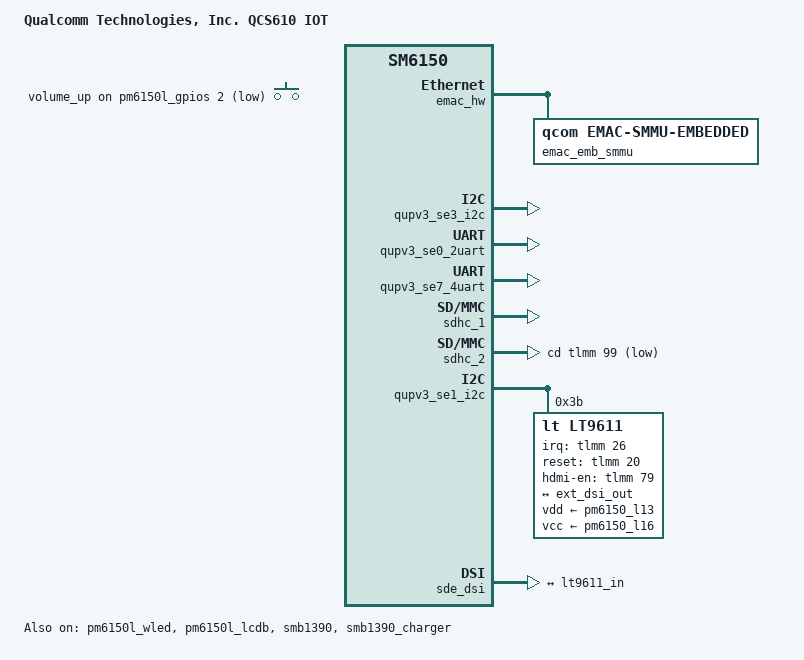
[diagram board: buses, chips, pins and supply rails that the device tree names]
/* Copyright (c) 2019-2020, The Linux Foundation. All rights reserved.
 * Copyright (C) 2021 XiaoMi, Inc.
 *
 * This program is free software; you can redistribute it and/or modify
 * it under the terms of the GNU General Public License version 2 and
 * only version 2 as published by the Free Software Foundation.
 *
 * This program is distributed in the hope that it will be useful,
 * but WITHOUT ANY WARRANTY; without even the implied warranty of
 * MERCHANTABILITY or FITNESS FOR A PARTICULAR PURPOSE.  See the
 * GNU General Public License for more details.
 */

#include <dt-bindings/gpio/gpio.h>
#include <dt-bindings/iio/qcom,spmi-vadc.h>
#include <dt-bindings/input/input.h>

#include <dt-bindings/clock/qcom,rpmh.h>
#include <dt-bindings/clock/qcom,gcc-sm6150.h>
#include <dt-bindings/clock/qcom,camcc-sm6150.h>
#include <dt-bindings/clock/qcom,cpucc-sm8150.h>
#include <dt-bindings/clock/qcom,dispcc-sm6150.h>
#include <dt-bindings/clock/qcom,gpucc-sm6150.h>

#include "sm6150-sde.dtsi"
#include "sm6150-sde-pll.dtsi"
#include "sm6150-sde-display.dtsi"
#include "qcs610-camera-sensor-idp.dtsi"
#include "sm6150-audio-overlay.dtsi"

/ {
	model = "Qualcomm Technologies, Inc. QCS610 IOT";
	compatible = "qcom,qcs610-iot", "qcom,qcs610", "qcom,iot";
	qcom,board-id = <32 0>;
};

&soc {
	qcom,rmnet-ipa {
		status="disabled";
	};
};

&ipa_hw {
	status="disabled";
};

&sm6150_snd {
	/delete-property/ fsa4480-i2c-handle;
};

&qupv3_se3_i2c {
	status = "ok";
	#include "smb1390.dtsi"
};

&fsa4480 {
	status = "disabled";
};

&pm6150l_gpios {
	key_vol_up {
		key_vol_up_default: key_vol_up_default {
			pins = "gpio2";
			function = "normal";
			input-enable;
			bias-pull-up;
			power-source = <0>;
		};
	};

	irled {
		irled_pwm: irled_pwm_default {
			pins = "gpio6";
			function = "func1";
			qcom,drive-strength = <2>;
			power-source = <0>;
			bias-disable;
			output-low;
		};
	};
};

&soc {
	gpio_keys {
		compatible = "gpio-keys";
		label = "gpio-keys";

		pinctrl-names = "default";
		pinctrl-0 = <&key_vol_up_default>;

		vol_up {
			label = "volume_up";
			gpios = <&pm6150l_gpios 2 GPIO_ACTIVE_LOW>;
			linux,input-type = <1>;
			linux,code = <KEY_VOLUMEUP>;
			linux,can-disable;
			debounce-interval = <15>;
			gpio-key,wakeup;
		};
	};

	mtp_batterydata: qcom,battery-data {
		qcom,batt-id-range-pct = <15>;
		#include "qg-batterydata-alium-3600mah.dtsi"
		#include "qg-batterydata-mlp356477-2800mah.dtsi"
	};

	emac_hw: qcom,emac@20000 {
		compatible = "qcom,emac-dwc-eqos";
		qcom,arm-smmu;
		reg = <0x20000 0x10000>,
			<0x36000 0x100>;
		reg-names = "emac-base", "rgmii-base";
		dma-bit-mask = <32>;
		emac-core-version = <7>;
		interrupts-extended = <&pdc 0 660 4>, <&pdc 0 661 4>,
			<&tlmm 76 2>, <&pdc 0 651 4>,
			<&pdc 0 652 4>, <&pdc 0 653 4>,
			<&pdc 0 654 4>, <&pdc 0 655 4>,
			<&pdc 0 656 4>, <&pdc 0 657 4>,
			<&pdc 0 658 4>, <&pdc 0 659 4>,
			<&pdc 0 668 4>, <&pdc 0 669 4>;
		interrupt-names = "sbd-intr", "lpi-intr",
			"phy-intr", "tx-ch0-intr",
			"tx-ch1-intr", "tx-ch2-intr",
			"tx-ch3-intr", "tx-ch4-intr",
			"rx-ch0-intr", "rx-ch1-intr",
			"rx-ch2-intr", "rx-ch3-intr",
			"ptp_pps_irq_0","ptp_pps_irq_1";
		qcom,msm-bus,name = "emac";
		qcom,msm-bus,num-cases = <4>;
		qcom,msm-bus,num-paths = <2>;
		qcom,msm-bus,vectors-KBps =
			<98 512 0 0>, <1 781 0 0>,  /* No vote */
			<98 512 1250 0>, <1 781 0 40000>,  /* 10Mbps vote */
			<98 512 12500 0>, <1 781 0 40000>,  /* 100Mbps vote */
			<98 512 125000 0>, <1 781 0 40000>; /* 1000Mbps vote */
		qcom,bus-vector-names = "0", "10", "100", "1000";
		clocks = <&clock_gcc GCC_EMAC_AXI_CLK>,
				<&clock_gcc GCC_EMAC_PTP_CLK>,
				<&clock_gcc GCC_EMAC_RGMII_CLK>,
				<&clock_gcc GCC_EMAC_SLV_AHB_CLK>;
		clock-names = "eth_axi_clk", "eth_ptp_clk",
				"eth_rgmii_clk", "eth_slave_ahb_clk";
		qcom,phy-reset = <&tlmm 36 GPIO_ACTIVE_HIGH>;
		qcom,phy-reset-delay-msecs = <10 50>;
		qcom,phy-intr-redirect = <&tlmm 76 GPIO_ACTIVE_LOW>;
		gdsc_emac-supply = <&emac_gdsc>;
		pinctrl-names = "dev-emac-mdc", "dev-emac-mdio",
		"dev-emac-rgmii_txd0_state", "dev-emac-rgmii_txd1_state",
		"dev-emac-rgmii_txd2_state", "dev-emac-rgmii_txd3_state",
		"dev-emac-rgmii_txc_state",  "dev-emac-rgmii_tx_ctl_state",
		"dev-emac-rgmii_rxd0_state", "dev-emac-rgmii_rxd1_state",
		"dev-emac-rgmii_rxd2_state", "dev-emac-rgmii_rxd3_state",
		"dev-emac-rgmii_rxc_state", "dev-emac-rgmii_rx_ctl_state",
		"dev-emac-phy_intr", "dev-emac-phy_reset_state",
		"dev-emac_pin_pps_0";

		pinctrl-0 = <&emac_mdc>;
		pinctrl-1 = <&emac_mdio>;
		pinctrl-2 = <&emac_rgmii_txd0>;
		pinctrl-3 = <&emac_rgmii_txd1>;
		pinctrl-4 = <&emac_rgmii_txd2>;
		pinctrl-5 = <&emac_rgmii_txd3>;
		pinctrl-6 = <&emac_rgmii_txc>;
		pinctrl-7 = <&emac_rgmii_tx_ctl>;
		pinctrl-8 = <&emac_rgmii_rxd0>;
		pinctrl-9 = <&emac_rgmii_rxd1>;
		pinctrl-10 = <&emac_rgmii_rxd2>;
		pinctrl-11 = <&emac_rgmii_rxd3>;
		pinctrl-12 = <&emac_rgmii_rxc>;
		pinctrl-13 = <&emac_rgmii_rx_ctl>;
		pinctrl-14 = <&emac_phy_intr>;
		pinctrl-15 = <&emac_phy_reset_state>;
		pinctrl-16 = <&emac_pin_pps_0>;
		vreg_emac_phy-supply =  <&L19A>;
		qcom,phyad_change;

		io-macro-info {
			io-macro-bypass-mode = <0>;
			io-interface = "rgmii";
		};
		emac_emb_smmu: emac_emb_smmu {
			compatible = "qcom,emac-smmu-embedded";
			iommus = <&apps_smmu 0x1C0 0x0>;
			qcom,iova-mapping = <0x80000000 0x40000000>;
		};
	};

};

&emac_phy_intr {
	mux {
		pins = "gpio76";
		function = "gpio";
	};

	config {
		pins = "gpio76";
		bias-disable;  /* NO pull */
		drive-strength = <2>;
		};
	};

&emac_phy_reset_state {
	mux {
		pins = "gpio36";
		function = "gpio";
		};

	config {
		pins = "gpio36";
		bias-pull-up;
		drive-strength = <16>;
		};
	};

&pm6150l_wled {
	qcom,string-cfg= <3>;
	qcom,leds-per-string = <7>;
	status = "ok";
};

&pm6150l_lcdb {
	status = "ok";
};

&pm6150_qg {
	qcom,battery-data = <&mtp_batterydata>;
	qcom,qg-iterm-ma = <100>;
	qcom,hold-soc-while-full;
	qcom,linearize-soc;
	qcom,cl-feedback-on;
};

&pm6150_charger {
	io-channels = <&pm6150_vadc ADC_USB_IN_V_16>,
		      <&pm6150_vadc ADC_USB_IN_I>,
		      <&pm6150_vadc ADC_CHG_TEMP>,
		      <&pm6150_vadc ADC_DIE_TEMP>,
		      <&pm6150_vadc ADC_AMUX_THM4_PU2>,
		      <&pm6150_vadc ADC_SBUx>,
		      <&pm6150_vadc ADC_VPH_PWR>;
	io-channel-names = "usb_in_voltage",
			   "usb_in_current",
			   "chg_temp",
			   "die_temp",
			   "conn_temp",
			   "sbux_res",
			   "vph_voltage";
	qcom,battery-data = <&mtp_batterydata>;
	qcom,auto-recharge-soc = <98>;
	qcom,step-charging-enable;
	qcom,sw-jeita-enable;
	qcom,fcc-stepping-enable;
	qcom,suspend-input-on-debug-batt;
	qcom,sec-charger-config = <3>;
	qcom,thermal-mitigation = <4200000 3500000 3000000
			2500000 2000000 1500000 1000000 500000>;
	dpdm-supply = <&qusb_phy0>;
	qcom,charger-temp-max = <800>;
	qcom,smb-temp-max = <800>;
};

&smb1390 {
	/delete-property/ interrupts;
	interrupts = <0x0 0xc2 0x0 IRQ_TYPE_LEVEL_LOW>;
	pinctrl-names = "default";
	pinctrl-0 = <&smb_stat_default>;
	status = "ok";
};

&smb1390_charger {
	/delete-property/ compatible;
	compatible = "qcom,smb1390-charger-psy";
	io-channels = <&pm6150_vadc ADC_AMUX_THM3>;
	io-channel-names = "cp_die_temp";
	status = "ok";
};

&qupv3_se0_2uart {
	status = "ok";
};

&qupv3_se7_4uart {
	status = "ok";
};

&pil_camera_mem {
	reg = <0 0x8f800000 0 0x500000>;
};

&pil_modem_mem {
	reg = <0 0x8fd00000 0 0x3100000>;
};

&pil_video_mem {
	reg = <0 0x92e00000 0 0x500000>;
};

&wlan_msa_mem {
	reg = <0 0x93300000 0 0x200000>;
};

&pil_cdsp_mem {
	reg = <0 0x93500000 0 0x1e00000>;
};

&pil_adsp_mem {
	reg = <0 0x95300000 0 0x1e00000>;
};

&pil_ipa_fw_mem {
	reg = <0 0x97100000 0 0x10000>;
};

&pil_ipa_gsi_mem {
	reg = <0 0x97110000 0 0x5000>;
};

&pil_gpu_mem {
	reg = <0 0x97115000 0 0x2000>;
};

&msm_gpu {
	/delete-node/qcom,gpu-mempools;
};

&sdhc_1 {
	vdd-supply = <&pm6150l_l11>;
	qcom,vdd-voltage-level = <2950000 2950000>;
	qcom,vdd-current-level = <0 570000>;

	vdd-io-supply = <&pm6150_l12>;
	qcom,vdd-io-always-on;
	qcom,vdd-io-lpm-sup;
	qcom,vdd-io-voltage-level = <1800000 1800000>;
	qcom,vdd-io-current-level = <0 325000>;

	pinctrl-names = "active", "sleep";
	pinctrl-0 = <&sdc1_clk_on &sdc1_cmd_on &sdc1_data_on &sdc1_rclk_on>;
	pinctrl-1 = <&sdc1_clk_off &sdc1_cmd_off &sdc1_data_off &sdc1_rclk_off>;

	status = "ok";
};

&sdhc_2 {
	vdd-supply = <&pm6150l_l9>;
	qcom,vdd-voltage-level = <2950000 2950000>;
	qcom,vdd-current-level = <0 800000>;

	vdd-io-supply = <&pm6150l_l6>;
	qcom,vdd-io-voltage-level = <1800000 3100000>;
	qcom,vdd-io-current-level = <0 22000>;

	pinctrl-names = "active", "sleep";
	pinctrl-0 = <&sdc2_clk_on  &sdc2_cmd_on &sdc2_data_on &sdc2_cd_on>;
	pinctrl-1 = <&sdc2_clk_off &sdc2_cmd_off &sdc2_data_off &sdc2_cd_off>;

	cd-gpios = <&tlmm 99 GPIO_ACTIVE_LOW>;

	status = "ok";
};

&usb0 {
	dwc3@a600000 {
		snps,usb3-u1u2-disable;
	};
};

&L16A {
	regulator-max-microvolt = <3304000>;
};

&L19A {
	regulator-max-microvolt = <3304000>;
};

&L4C {
	regulator-max-microvolt = <2912000>;
};

&L5C {
	regulator-max-microvolt = <2912000>;
};

&sde_dp {
	status="disabled";
};

&mdss_dp_pll {
	status="disabled";
};

&mdss_mdp {
	connectors = <&sde_rscc &sde_wb &sde_dsi>;
};

&qupv3_se1_i2c {
	status = "ok";
	lt9611: lt,lt9611@3b {
		compatible = "lt,lt9611";
		reg = <0x3b>;
		interrupt-parent = <&tlmm>;
		interrupts = <26 0>;
		interrupt-names = "lt_irq";
		lt,irq-gpio = <&tlmm 26 0x0>;
		lt,reset-gpio = <&tlmm 20 0x0>;
		lt,hdmi-en-gpio = <&tlmm 79 0x0>;
		instance_id = <0>;
		lt,non-pluggable;
		lt,preferred-mode = "1920x1080";

		pinctrl-names = "default";
		pinctrl-0 = <&lt9611_pins>;

		vdd-supply = <&pm6150_l13>;
		vcc-supply = <&pm6150_l16>;

		lt,supply-entries {
			#address-cells = <1>;
			#size-cells = <0>;

			lt,supply-entry@0 {
				reg = <0>;
				lt,supply-name = "vdd";
				lt,supply-min-voltage = <1800000>;
				lt,supply-max-voltage = <1800000>;
				lt,supply-enable-load = <200000>;
				lt,supply-post-on-sleep = <50>;
			};
			lt,supply-entry@1 {
				reg = <1>;
				lt,supply-name = "vcc";
				lt,supply-min-voltage = <3304000>;
				lt,supply-max-voltage = <3304000>;
				lt,supply-enable-load = <200000>;
				lt,supply-post-on-sleep = <50>;
			};


		};

		lt,customize-modes {
			lt,customize-mode-id@0 {
				lt,mode-h-active = <1920>;
				lt,mode-h-front-porch = <88>;
				lt,mode-h-pulse-width = <44>;
				lt,mode-h-back-porch = <148>;
				lt,mode-h-active-high;
				lt,mode-v-active = <1080>;
				lt,mode-v-front-porch = <4>;
				lt,mode-v-pulse-width = <5>;
				lt,mode-v-back-porch = <36>;
				lt,mode-v-active-high;
				lt,mode-refresh-rate = <60>;
				lt,mode-clock-in-khz = <148500>;
			};
		};

		ports {
			#address-cells = <1>;
			#size-cells = <0>;

			port@0 {
				reg = <0>;
				lt9611_in: endpoint {
					remote-endpoint = <&ext_dsi_out>;
				};
			};
		};
	};
};

&dsi_ext_bridge_hdmi_1080p {
	qcom,mdss-dsi-ext-bridge = <0>;
};

&soc {
	ext_dsi_bridge_display: qcom,dsi-display@50 {
		label = "ext_dsi_bridge_display hdmi 1080p";
		qcom,dsi-display-active;
		qcom,display-type = "primary";

		qcom,dsi-ctrl-num = <0>;
		qcom,dsi-phy-num = <0>;
		qcom,dsi-select-clocks = "mux_byte_clk0", "mux_pixel_clk0";
		qcom,dsi-panel = <&dsi_ext_bridge_hdmi_1080p>;
	};
};

&sde_dsi {
	qcom,dsi-display-list = <&ext_dsi_bridge_display>;

	ports {
		#address-cells = <1>;
		#size-cells = <0>;

		port@0 {
			reg = <0>;
			ext_dsi_out: endpoint {
				remote-endpoint = <&lt9611_in>;
			};
		};
	};
};
